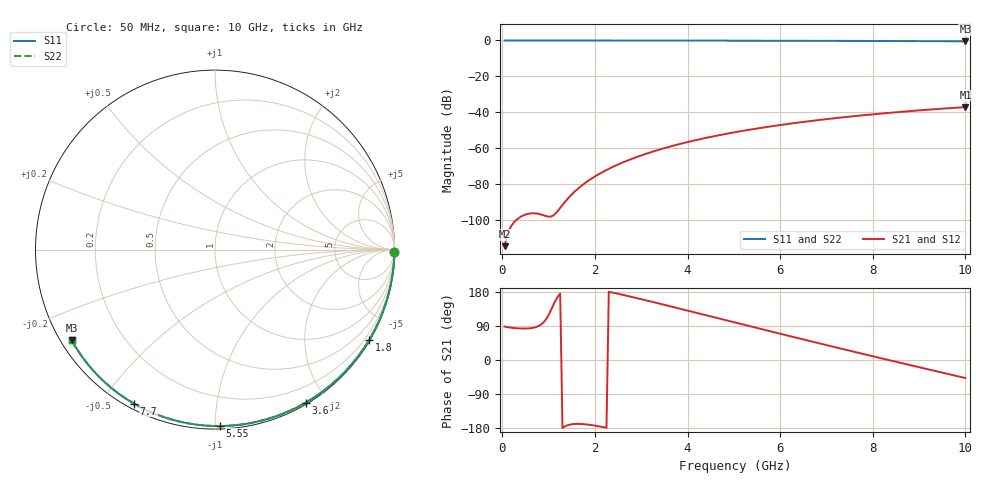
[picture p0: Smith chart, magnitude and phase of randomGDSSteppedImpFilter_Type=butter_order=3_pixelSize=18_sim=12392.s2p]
! freq	dB(S11)	phase(S11)	dB(S12)	phase(S12)
!  dB(S21)	phase(S21)	dB(S22)	phase(S22)
!S-par simulation data
#  GHz  S  DB  R 50
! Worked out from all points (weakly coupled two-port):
!   200 points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, 50 MHz to 10 GHz, reference 50 ohm
!   highest |S21| = -37.20 dB at 10 GHz (marker M1); lowest = -114.9 dB at 50 MHz (marker M2)
!   lowest |S11| = -0.5 dB at 10 GHz (marker M3), VSWR 35.03, Z = 1.55 - j14.4 ohm
!   |S11| at or under -10 dB: nowhere
!   |S22| runs from -0.5 to 0.0 dB; largest |S21 - S12| = 0
!   S11 on the Smith chart (normalised r, x): 50 MHz: open; 1.8 GHz: 0.03, -3.67; 3.6 GHz: 0.02, -1.75; 5.55 GHz: 0.02, -1.03; 7.7 GHz: 0.02, -0.60; 10 GHz: 0.03, -0.29
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0.05  -0.00 -0.9  -114.85 88.3  -114.85 88.3  -0.00 -0.9
0.45  -0.01 -7.7  -97.73 83.0  -97.73 83.0  -0.01 -7.7
0.9  -0.02 -15.4  -97.69 100.7  -97.69 100.7  -0.02 -15.4
1.3  -0.03 -22.1  -91.83 -179.3  -91.83 -179.3  -0.03 -22.1
1.75  -0.04 -29.6  -80.31 -169.2  -80.31 -169.2  -0.04 -29.6
1.8  -0.04 -30.5  -79.35 -169.8  -79.35 -169.8  -0.04 -30.5
1.95  -0.04 -32.9  -76.73 -172.2  -76.73 -172.2  -0.04 -32.9
2.1  -0.04 -35.4  -74.41 -175.2  -74.41 -175.2  -0.04 -35.4
2.3  -0.05 -38.7  -71.67 180.0  -71.67 180.0  -0.05 -38.7
2.5  -0.05 -41.9  -69.25 174.8  -69.25 174.8  -0.05 -41.9
2.9  -0.06 -48.3  -65.10 163.5  -65.10 163.5  -0.06 -48.4
3.4  -0.07 -56.2  -60.86 148.6  -60.86 148.6  -0.07 -56.3
3.6  -0.08 -59.4  -59.39 142.6  -59.39 142.6  -0.08 -59.4
4.3  -0.10 -70.1  -54.95 121.2  -54.95 121.2  -0.10 -70.1
5.05  -0.12 -81.1  -51.11 98.2  -51.11 98.2  -0.12 -81.2
5.55  -0.14 -88.3  -48.95 82.9  -48.95 82.9  -0.14 -88.3
6.1  -0.17 -96.1  -46.85 66.2  -46.85 66.2  -0.17 -96.1
6.7  -0.20 -104.3  -44.84 48.2  -44.84 48.2  -0.20 -104.4
7.7  -0.27 -117.7  -42.00 18.6  -42.00 18.6  -0.27 -117.8
8.35  -0.32 -126.3  -40.43 -0.3  -40.43 -0.3  -0.32 -126.3
9.2  -0.41 -137.4  -38.64 -24.8  -38.64 -24.8  -0.41 -137.4
10  -0.50 -147.8  -37.20 -47.5  -37.20 -47.5  -0.50 -147.8
